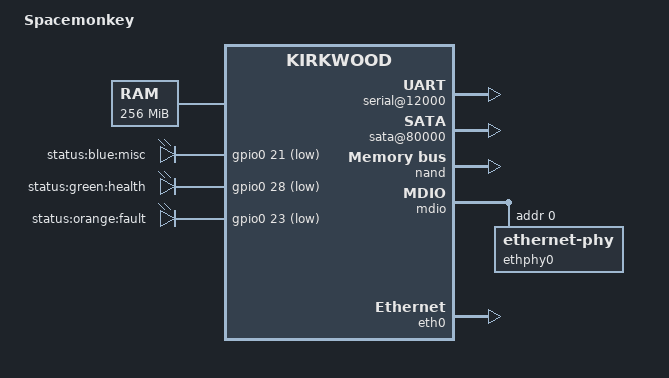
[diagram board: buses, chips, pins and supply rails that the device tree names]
/dts-v1/;

#include "kirkwood.dtsi"
#include "kirkwood-6281.dtsi"

/ {
	model = "Spacemonkey";
	compatible = "marvell,kirkwood-88f6281", "marvell,kirkwood";

	memory {
		device_type = "memory";
		reg = <0x00000000 0x10000000>; // 256 MiB
	};

	chosen {
		bootargs = "console=ttyS0,115200n8 earlyprintk root=/dev/mtdblock2 ro rootfstype=jffs2";
		stdout-path = &uart0;
	};

	ocp@f1000000 {
		pinctrl: pin-controller@10000 {
			pmx_led_orange: pmx-led_orange {
				marvell,pins = "mpp23";
				marvell,function = "gpio";
			};
			pmx_led_green: pmx-led_green {
				marvell,pins = "mpp28";
				marvell,function = "gpio";
			};
			pmx_led_blue: pmx-led_blue { // fan5646
				marvell,pins = "mpp21";
				marvell,function = "gpio";
			};
			pmx_button_func: pmx-button_func {
				marvell,pins = "mpp37";
				marvell,function = "gpio";
			};
			// pmx_usb_power_enable: pmx-usb-power-enable {
			// 	marvell,pins = "mpp29";
			// 	marvell,function = "gpio";
			// };
		};
		serial@12000 {
			status = "ok";
		};

		sata@80000 {
			status = "okay";
			nr-ports = <1>; // changed from <2>
		};

	};
	gpio-leds {
		compatible = "gpio-leds";
		pinctrl-0 = < &pmx_led_orange
			      &pmx_led_green
			      &pmx_led_blue
			    >;
		pinctrl-names = "default";

		misc {
			label = "status:blue:misc";
			gpios = <&gpio0 21 GPIO_ACTIVE_LOW>;
			default-state = "keep";
		};
		health {
			label = "status:green:health";
			gpios = <&gpio0 28 GPIO_ACTIVE_LOW>;
		};
		fault {
			label = "status:orange:fault";
			gpios = <&gpio0 23 GPIO_ACTIVE_LOW>;
		};
	};
	// gpio-keys {
	//     compatible = "gpio-keys";
	// 	pinctrl-0 = < &pmx_button_func >;
	// 	pinctrl-names = "default";

	// 	button@1 {
	// 	    label = "func button";
	// 		gpios = <>
	// 	}
	// };
};

&nand {
	chip-delay = <25>; // TC58NVG1S3ETA00
	status = "okay";

// These are definitely overridded by the command line partitions. What happens if we don't supply those?
	partition@0 {
		label = "u-boot";
		reg = <0x0000000 0x100000>;
		read-only;
	};

	partition@100000 {
		label = "uImage";
		reg = <0x0100000 0x500000>;
	};

	partition@500000 {
		label = "root";
		reg = <0x0500000 0xf00000>;
	};

	partition@f00000 {
		label = "secure";
		reg = <0x0f00000 0x1000000>;
	};

	partition@1000000 {
		label = "data";
		reg = <0x1000000 0x10000000>;
	};
};

&mdio {
	status = "okay";

	ethphy0: ethernet-phy@0 {
		reg = <0>;
	};
};

&eth0 {
	status = "okay";
	ethernet0-port@0 {
		phy-handle = <&ethphy0>;
		local-mac-address = [70 93 f8 00 09 7b];
	};
};
